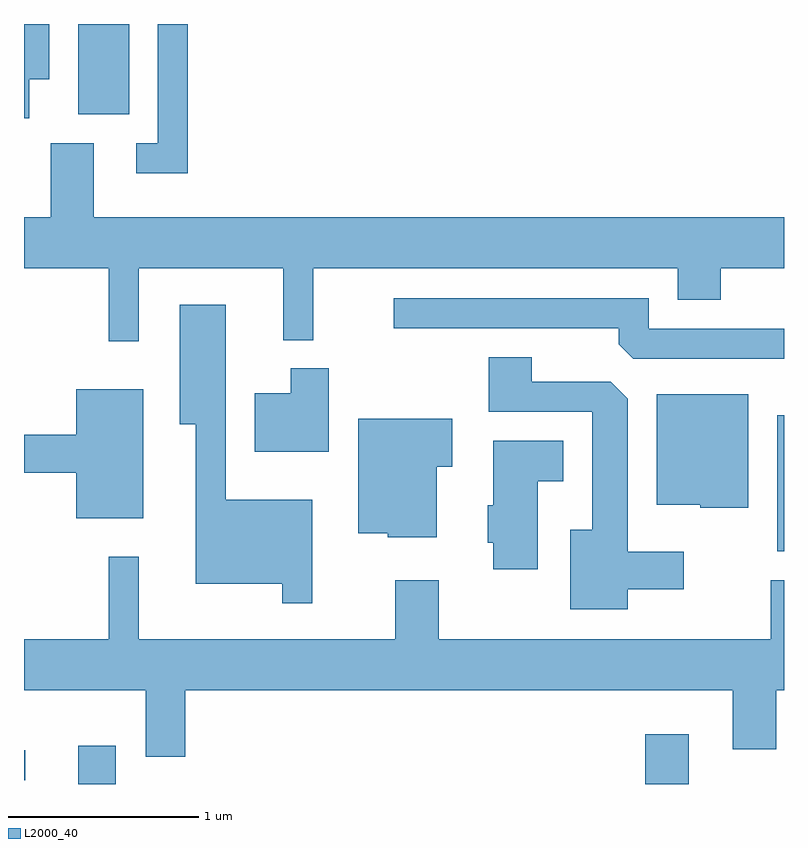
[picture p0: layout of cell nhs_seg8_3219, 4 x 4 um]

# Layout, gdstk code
import gdstk
lib = gdstk.Library(unit=1e-6, precision=1e-09)
def R(c, l, rs):  # rectangles x0, y0, x1, y1
    for r in rs: c.add(gdstk.rectangle(r[:2], r[2:], *l))
def P(c, l, *ps):  # polygons
    for p in ps: c.add(gdstk.Polygon(p, *l))
L2000_40 = (2000, 40)

nhs_seg8_3219 = lib.new_cell('nhs_seg8_3219')
R(nhs_seg8_3219, L2000_40, [(281.896,1860.342,282.094,1860.544), (284.881,1860.342,285.109,1860.604), (281.611,1860.361,281.618,1860.519), (285.576,1861.566,285.611,1862.284), (281.896,1863.866,282.164,1864.342)])
P(nhs_seg8_3219, L2000_40, [(282.474,1864.342),(282.316,1864.342),(282.316,1863.714),(282.203,1863.714),(282.203,1863.556),(282.474,1863.556)],
  [(281.639,1864.051),(281.744,1864.051),(281.744,1864.342),(281.611,1864.342),(281.611,1863.846),(281.639,1863.846)],
  [(282.214,1863.056),(282.976,1863.056),(282.976,1862.678),(283.134,1862.678),(283.134,1863.056),(285.051,1863.056),(285.051,1862.891),(285.279,1862.891),(285.279,1863.056),(285.611,1863.056),(285.611,1863.324),(281.979,1863.324),(281.979,1863.714),(281.751,1863.714),(281.751,1863.324),(281.611,1863.324),(281.611,1863.056),(282.056,1863.056),(282.056,1862.673),(282.214,1862.673)],
  [(285.611,1862.739),(284.899,1862.739),(284.899,1862.899),(283.558,1862.899),(283.558,1862.741),(284.741,1862.741),(284.741,1862.657),(284.817,1862.581),(285.611,1862.581)],
  [(283.129,1861.839),(282.674,1861.839),(282.674,1862.864),(282.431,1862.864),(282.431,1862.236),(282.516,1862.236),(282.516,1861.396),(282.971,1861.396),(282.971,1861.293),(283.129,1861.293)],
  [(284.789,1861.366),(285.084,1861.366),(285.084,1861.564),(284.789,1861.564),(284.789,1862.369),(284.699,1862.459),(284.284,1862.459),(284.284,1862.589),(284.056,1862.589),(284.056,1862.301),(284.601,1862.301),(284.601,1861.679),(284.486,1861.679),(284.486,1861.261),(284.789,1861.261)],
  [(283.214,1862.529),(283.016,1862.529),(283.016,1862.399),(282.826,1862.399),(282.826,1862.091),(283.214,1862.091)],
  [(282.239,1862.419),(281.886,1862.419),(281.886,1862.179),(281.611,1862.179),(281.611,1861.981),(281.886,1861.981),(281.886,1861.741),(282.239,1861.741)],
  [(285.424,1862.394),(284.941,1862.394),(284.941,1861.811),(285.17,1861.811),(285.17,1861.796),(285.424,1861.796)],
  [(283.784,1862.011),(283.864,1862.011),(283.864,1862.264),(283.371,1862.264),(283.371,1861.661),(283.526,1861.661),(283.526,1861.641),(283.784,1861.641)],
  [(284.314,1861.936),(284.449,1861.936),(284.449,1862.149),(284.081,1862.149),(284.081,1861.809),(284.051,1861.809),(284.051,1861.611),(284.081,1861.611),(284.081,1861.471),(284.314,1861.471)],
  [(282.459,1860.836),(285.341,1860.836),(285.341,1860.526),(285.569,1860.526),(285.569,1860.836),(285.611,1860.836),(285.611,1861.414),(285.541,1861.414),(285.541,1861.104),(283.794,1861.104),(283.794,1861.414),(283.566,1861.414),(283.566,1861.104),(282.214,1861.104),(282.214,1861.538),(282.056,1861.538),(282.056,1861.104),(281.611,1861.104),(281.611,1860.836),(282.251,1860.836),(282.251,1860.486),(282.459,1860.486)])

lib.write_gds('nhs_seg8_3219.gds')
